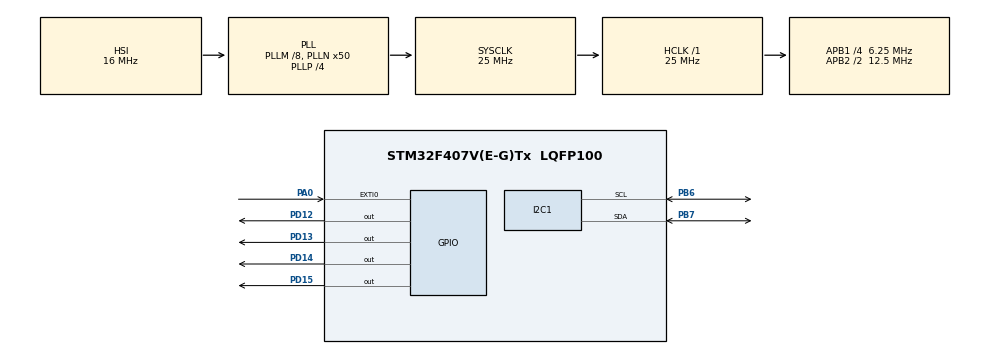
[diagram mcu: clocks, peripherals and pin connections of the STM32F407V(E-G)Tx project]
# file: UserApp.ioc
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Mcu.Family=STM32F4
Mcu.Name=STM32F407V(E-G)Tx
Mcu.Package=LQFP100
NVIC.EXTI0_IRQn=true\:0\:0\:false\:false\:true\:true\:true\:true
NVIC.PriorityGroup=NVIC_PRIORITYGROUP_0
PA0-WKUP.Signal=GPXTI0
PB6.Mode=I2C
PB6.Signal=I2C1_SCL
PB7.Mode=I2C
PB7.Signal=I2C1_SDA
PD12.Signal=GPIO_Output
PD13.Signal=GPIO_Output
PD14.Signal=GPIO_Output
PD15.Signal=GPIO_Output
ProjectManager.HeapSize=0x200
ProjectManager.StackSize=0x400
ProjectManager.TargetToolchain=STM32CubeIDE
RCC.48MHZClocksFreq_Value=14285714.285714285
RCC.AHBFreq_Value=25000000
RCC.APB1CLKDivider=RCC_HCLK_DIV4
RCC.APB1Freq_Value=6250000
RCC.APB1TimFreq_Value=12500000
RCC.APB2CLKDivider=RCC_HCLK_DIV2
RCC.APB2Freq_Value=12500000
RCC.APB2TimFreq_Value=25000000
RCC.CortexFreq_Value=25000000
RCC.HCLKFreq_Value=25000000
RCC.HSE_VALUE=8000000
RCC.HSI_VALUE=16000000
RCC.LSE_VALUE=32768
RCC.PLLM=8
RCC.PLLN=50
RCC.PLLP=RCC_PLLP_DIV4
RCC.PLLQ=7
RCC.SYSCLKFreq_VALUE=25000000
RCC.SYSCLKSource=RCC_SYSCLKSOURCE_PLLCLK
RCC.VCOOutputFreq_Value=100000000
board=STM32F407G-DISC1

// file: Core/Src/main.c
/* USER CODE BEGIN Header */
/**
  ******************************************************************************
  * @file           : main.c
  * @brief          : Main program body
  ******************************************************************************
  * @attention
  *
  * Copyright (c) 2025 STMicroelectronics.
  * All rights reserved.
  *
  * This software is licensed under terms that can be found in the LICENSE file
  * in the root directory of this software component.
  * If no LICENSE file comes with this software, it is provided AS-IS.
  *
  ******************************************************************************
  */
/* USER CODE END Header */
#include "main.h"

/* USER CODE BEGIN Includes */
#include"lcd16x2_i2c.h"
/* USER CODE END Includes */

I2C_HandleTypeDef hi2c1;

void SystemClock_Config(void);
static void MX_GPIO_Init(void);
static void MX_I2C1_Init(void);

/* USER CODE BEGIN 0 */
void HAL_GPIO_EXTI_Callback(uint16_t GPIO_Pin)
{
  /* Prevent unused argument(s) compilation warning */
  UNUSED(GPIO_Pin);
  /* NOTE: This function Should not be modified, when the callback is needed,
           the HAL_GPIO_EXTI_Callback could be implemented in the user file
   */
  HAL_GPIO_TogglePin(GPIOD, GPIO_PIN_12);
  HAL_GPIO_TogglePin(GPIOD, GPIO_PIN_13);
  HAL_GPIO_TogglePin(GPIOD, GPIO_PIN_14);
  HAL_GPIO_TogglePin(GPIOD, GPIO_PIN_15);
  //HAL_GPIO_TogglePin(GPIOD, GPIO_PIN_12|GPIO_PIN_13|GPIO_PIN_14|GPIO_PIN_15);
}

/* USER CODE END 0 */

int main(void)
{

  /* USER CODE BEGIN 1 */
  /* Relocate vector table to Sector 2 (0x08008000) */
  SCB->VTOR = 0x08008000;

  /* USER CODE END 1 */

  /* MCU Configuration--------------------------------------------------------*/

  /* Reset of all peripherals, Initializes the Flash interface and the Systick. */
  HAL_Init();

  /* Configure the system clock */
  SystemClock_Config();

  /* Initialize all configured peripherals */
  MX_GPIO_Init();
  MX_I2C1_Init();
  /* USER CODE BEGIN 2 */
  lcd16x2_i2c_init(&hi2c1);
  lcd16x2_i2c_setCursor(0, 0);
  lcd16x2_i2c_printf("User Application");
  lcd16x2_i2c_setCursor(1, 0);
  lcd16x2_i2c_printf("is running ....");

  HAL_GPIO_WritePin(GPIOD, GPIO_PIN_12, GPIO_PIN_RESET);
  HAL_GPIO_WritePin(GPIOD, GPIO_PIN_14, GPIO_PIN_RESET);
  //
  HAL_GPIO_WritePin(GPIOD, GPIO_PIN_13, GPIO_PIN_SET);
  HAL_GPIO_WritePin(GPIOD, GPIO_PIN_15, GPIO_PIN_SET);
  /* USER CODE END 2 */

  /* Infinite loop */
  /* USER CODE BEGIN WHILE */
  while (1)
  {
	// HAL_Delay(1000);
    /* USER CODE END WHILE */

  }
}

void SystemClock_Config(void)
{
  RCC_OscInitTypeDef RCC_OscInitStruct = {0};
  RCC_ClkInitTypeDef RCC_ClkInitStruct = {0};

  /** Configure the main internal regulator output voltage
  */
  __HAL_RCC_PWR_CLK_ENABLE();
  __HAL_PWR_VOLTAGESCALING_CONFIG(PWR_REGULATOR_VOLTAGE_SCALE1);

  /** Initializes the RCC Oscillators according to the specified parameters
  * in the RCC_OscInitTypeDef structure.
  */
  RCC_OscInitStruct.OscillatorType = RCC_OSCILLATORTYPE_HSI;
  RCC_OscInitStruct.HSIState = RCC_HSI_ON;
  RCC_OscInitStruct.HSICalibrationValue = RCC_HSICALIBRATION_DEFAULT;
  RCC_OscInitStruct.PLL.PLLState = RCC_PLL_ON;
  RCC_OscInitStruct.PLL.PLLSource = RCC_PLLSOURCE_HSI;
  RCC_OscInitStruct.PLL.PLLM = 8;
  RCC_OscInitStruct.PLL.PLLN = 50;
  RCC_OscInitStruct.PLL.PLLP = RCC_PLLP_DIV4;
  RCC_OscInitStruct.PLL.PLLQ = 7;
  if (HAL_RCC_OscConfig(&RCC_OscInitStruct) != HAL_OK)
  {
    Error_Handler();
  }

  /** Initializes the CPU, AHB and APB buses clocks
  */
  RCC_ClkInitStruct.ClockType = RCC_CLOCKTYPE_HCLK|RCC_CLOCKTYPE_SYSCLK
                              |RCC_CLOCKTYPE_PCLK1|RCC_CLOCKTYPE_PCLK2;
  RCC_ClkInitStruct.SYSCLKSource = RCC_SYSCLKSOURCE_PLLCLK;
  RCC_ClkInitStruct.AHBCLKDivider = RCC_SYSCLK_DIV1;
  RCC_ClkInitStruct.APB1CLKDivider = RCC_HCLK_DIV4;
  RCC_ClkInitStruct.APB2CLKDivider = RCC_HCLK_DIV2;

  if (HAL_RCC_ClockConfig(&RCC_ClkInitStruct, FLASH_LATENCY_0) != HAL_OK)
  {
    Error_Handler();
  }
}

static void MX_I2C1_Init(void)
{

  hi2c1.Instance = I2C1;
  hi2c1.Init.ClockSpeed = 100000;
  hi2c1.Init.DutyCycle = I2C_DUTYCYCLE_2;
  hi2c1.Init.OwnAddress1 = 0;
  hi2c1.Init.AddressingMode = I2C_ADDRESSINGMODE_7BIT;
  hi2c1.Init.DualAddressMode = I2C_DUALADDRESS_DISABLE;
  hi2c1.Init.OwnAddress2 = 0;
  hi2c1.Init.GeneralCallMode = I2C_GENERALCALL_DISABLE;
  hi2c1.Init.NoStretchMode = I2C_NOSTRETCH_DISABLE;
  if (HAL_I2C_Init(&hi2c1) != HAL_OK)
  {
    Error_Handler();
  }

}

static void MX_GPIO_Init(void)
{
  GPIO_InitTypeDef GPIO_InitStruct = {0};

  /* GPIO Ports Clock Enable */
  __HAL_RCC_GPIOA_CLK_ENABLE();
  __HAL_RCC_GPIOD_CLK_ENABLE();
  __HAL_RCC_GPIOB_CLK_ENABLE();

  /*Configure GPIO pin Output Level */
  HAL_GPIO_WritePin(GPIOD, GPIO_PIN_12|GPIO_PIN_13|GPIO_PIN_14|GPIO_PIN_15, GPIO_PIN_RESET);

  /*Configure GPIO pin : PA0 */
  GPIO_InitStruct.Pin = GPIO_PIN_0;
  GPIO_InitStruct.Mode = GPIO_MODE_IT_RISING;
  GPIO_InitStruct.Pull = GPIO_NOPULL;
  HAL_GPIO_Init(GPIOA, &GPIO_InitStruct);

  /*Configure GPIO pins : PD12 PD13 PD14 PD15 */
  GPIO_InitStruct.Pin = GPIO_PIN_12|GPIO_PIN_13|GPIO_PIN_14|GPIO_PIN_15;
  GPIO_InitStruct.Mode = GPIO_MODE_OUTPUT_PP;
  GPIO_InitStruct.Pull = GPIO_NOPULL;
  GPIO_InitStruct.Speed = GPIO_SPEED_FREQ_LOW;
  HAL_GPIO_Init(GPIOD, &GPIO_InitStruct);

  /* EXTI interrupt init*/
  HAL_NVIC_SetPriority(EXTI0_IRQn, 0, 0);
  HAL_NVIC_EnableIRQ(EXTI0_IRQn);

}

void Error_Handler(void)
{
  __disable_irq();
  while (1)
  {
  }
}
